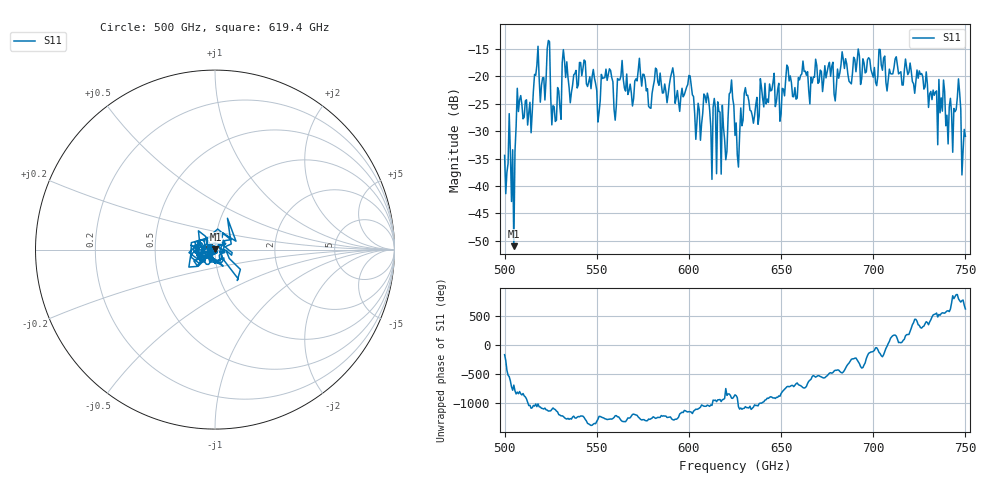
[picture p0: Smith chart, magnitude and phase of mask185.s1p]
!Created with skrf (http://scikit-rf.org).
# GHz S MA R 50.0
!freq magS11 angS11
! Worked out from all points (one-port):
!   401 points, 500 GHz to 750 GHz, reference 50 ohm
!   lowest |S11| = -51.0 dB at 505 GHz (marker M1), VSWR 1.01, Z = 50.2 + j0.147 ohm
!   |S11| at or under -10 dB: start of sweep to end of sweep
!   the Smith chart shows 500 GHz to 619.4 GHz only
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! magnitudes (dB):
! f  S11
! 500 GHz  -34.4
! 505 GHz  -51.0
! 508.1 GHz  -24.3
! 513.8 GHz  -24.7
! 516.9 GHz  -19.8
! 520.6 GHz  -20.3
! 523.8 GHz  -13.5
! 526.9 GHz  -25.5
! 531.2 GHz  -17.6
! 542.5 GHz  -18.6
! 550.6 GHz  -28.4
! 562.5 GHz  -20.7
! 578.8 GHz  -25.7
! 590.6 GHz  -19.3
! 593.8 GHz  -22.6
! 600 GHz  -19.8
! 605 GHz  -24.9
! 609.4 GHz  -24.8
! 618.8 GHz  -29.4
! 623.1 GHz  -20.7
! 625 GHz  -30.8
! 631.2 GHz  -23.5
! 656.2 GHz  -23.7
! 687.5 GHz  -21.2
! 718.8 GHz  -19.7
! 741.9 GHz  -24.0
! 746.2 GHz  -20.5
! 750 GHz  -31.0
